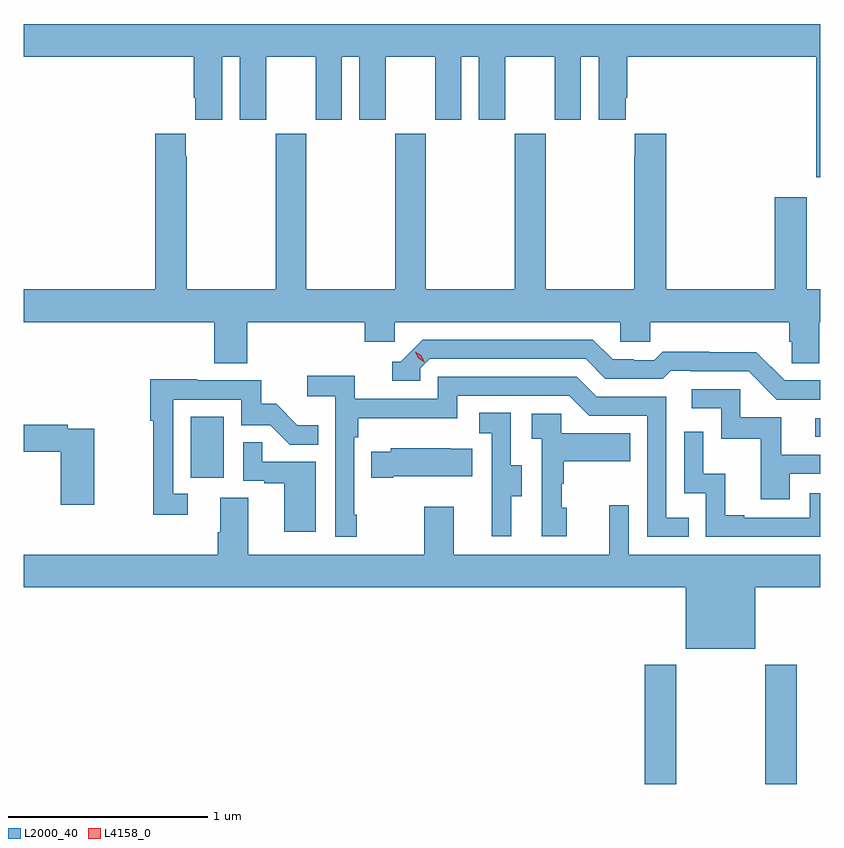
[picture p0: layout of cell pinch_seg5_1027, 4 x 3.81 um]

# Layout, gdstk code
import gdstk
lib = gdstk.Library(unit=1e-6, precision=1e-09)
def R(c, l, rs):  # rectangles x0, y0, x1, y1
    for r in rs: c.add(gdstk.rectangle(r[:2], r[2:], *l))
def P(c, l, *ps):  # polygons
    for p in ps: c.add(gdstk.Polygon(p, *l))
L2000_40 = (2000, 40)
L4158_0 = (4158, 0)

pinch_seg5_1027 = lib.new_cell('pinch_seg5_1027')
R(pinch_seg5_1027, L2000_40, [(834.485,858.437,834.645,859.036), (835.09,858.437,835.25,859.036), (832.208,859.974,832.372,860.281), (835.341,860.181,835.368,860.274)])
P(pinch_seg5_1027, L2000_40, [(835.368,862.252),(831.368,862.252),(831.368,862.088),(832.223,862.088),(832.223,861.883),(832.229,861.883),(832.229,861.771),(832.366,861.771),(832.366,862.088),(832.454,862.088),(832.454,861.771),(832.585,861.771),(832.585,862.088),(832.835,862.088),(832.835,861.771),(832.966,861.771),(832.966,862.088),(833.054,862.088),(833.054,861.771),(833.185,861.771),(833.185,862.088),(833.435,862.088),(833.435,861.771),(833.566,861.771),(833.566,862.088),(833.654,862.088),(833.654,861.771),(833.785,861.771),(833.785,862.088),(834.035,862.088),(834.035,861.771),(834.166,861.771),(834.166,862.088),(834.254,862.088),(834.254,861.771),(834.391,861.771),(834.391,861.883),(834.398,861.883),(834.398,862.088),(835.346,862.088),(835.346,861.482),(835.368,861.482)],
  [(832.188,861.587),(832.183,861.587),(832.183,861.7),(832.028,861.7),(832.028,860.92),(831.368,860.92),(831.368,860.756),(832.325,860.756),(832.325,860.548),(832.49,860.548),(832.49,860.756),(833.081,860.756),(833.081,860.658),(833.232,860.658),(833.232,860.756),(834.363,860.756),(834.363,860.658),(834.513,860.658),(834.513,860.756),(835.211,860.756),(835.211,860.658),(835.225,860.658),(835.225,860.548),(835.362,860.548),(835.362,860.756),(835.368,860.756),(835.368,860.92),(835.299,860.92),(835.299,861.382),(835.139,861.382),(835.139,860.92),(834.593,860.92),(834.593,861.7),(834.437,861.7),(834.437,861.587),(834.433,861.587),(834.433,860.92),(833.988,860.92),(833.988,861.7),(833.833,861.7),(833.833,860.92),(833.388,860.92),(833.388,861.7),(833.233,861.7),(833.233,860.92),(832.788,860.92),(832.788,861.7),(832.633,861.7),(832.633,860.92),(832.188,860.92)],
  [(835.368,860.463),(835.188,860.463),(835.046,860.605),(834.81,860.605),(834.81,860.608),(834.577,860.608),(834.535,860.565),(834.432,860.565),(834.432,860.568),(834.325,860.568),(834.226,860.667),(833.373,860.667),(833.262,860.556),(833.219,860.556),(833.219,860.46),(833.358,860.46),(833.358,860.523),(833.406,860.571),(834.189,860.571),(834.288,860.472),(834.577,860.472),(834.616,860.511),(834.715,860.511),(834.715,860.508),(835.008,860.508),(835.149,860.367),(835.368,860.367)],
  [(833.041,859.789),(833.028,859.789),(833.028,860.177),(833.048,860.177),(833.048,860.273),(833.544,860.273),(833.544,860.385),(834.108,860.385),(834.207,860.286),(834.498,860.286),(834.498,859.677),(834.707,859.677),(834.707,859.773),(834.594,859.773),(834.594,860.382),(834.244,860.382),(834.145,860.481),(833.448,860.481),(833.448,860.37),(833.03,860.37),(833.03,860.486),(832.791,860.486),(832.791,860.384),(832.932,860.384),(832.932,859.677),(833.041,859.677)],
  [(832.192,859.893),(832.119,859.893),(832.119,860.367),(832.461,860.367),(832.461,860.238),(832.605,860.238),(832.703,860.14),(832.847,860.14),(832.847,860.239),(832.743,860.239),(832.636,860.346),(832.56,860.346),(832.56,860.463),(832.241,860.463),(832.241,860.468),(832.003,860.468),(832.003,860.26),(832.018,860.26),(832.018,859.788),(832.192,859.788)],
  [(835.213,859.995),(835.368,859.995),(835.368,860.091),(835.171,860.091),(835.171,860.277),(834.966,860.277),(834.966,860.418),(834.723,860.418),(834.723,860.322),(834.87,860.322),(834.87,860.169),(835.069,860.169),(835.069,859.866),(835.213,859.866)],
  [(833.815,859.882),(833.869,859.882),(833.869,860.037),(833.814,860.037),(833.814,860.3),(833.655,860.3),(833.655,860.197),(833.718,860.197),(833.718,859.893),(833.717,859.893),(833.717,859.68),(833.815,859.68)],
  [(834.094,859.824),(834.069,859.824),(834.069,859.943),(834.079,859.943),(834.079,860.057),(834.413,860.057),(834.413,860.197),(834.066,860.197),(834.066,860.295),(833.919,860.295),(833.919,860.171),(833.97,860.171),(833.97,859.68),(834.094,859.68)],
  [(831.724,860.22),(831.59,860.22),(831.59,860.24),(831.368,860.24),(831.368,860.104),(831.554,860.104),(831.554,859.839),(831.724,859.839)],
  [(835.368,859.896),(835.314,859.896),(835.314,859.773),(834.985,859.773),(834.985,859.786),(834.89,859.786),(834.89,859.994),(834.78,859.994),(834.78,860.206),(834.684,860.206),(834.684,859.896),(834.792,859.896),(834.792,859.677),(835.368,859.677)],
  [(832.834,860.055),(832.565,860.055),(832.565,860.153),(832.47,860.153),(832.47,859.959),(832.577,859.959),(832.577,859.947),(832.676,859.947),(832.676,859.704),(832.834,859.704)],
  [(833.224,859.982),(833.621,859.982),(833.621,860.119),(833.513,860.119),(833.513,860.122),(833.211,860.122),(833.211,860.104),(833.113,860.104),(833.113,859.975),(833.224,859.975)],
  [(835.042,859.424),(835.368,859.424),(835.368,859.588),(834.405,859.588),(834.405,859.837),(834.308,859.837),(834.308,859.588),(833.527,859.588),(833.527,859.828),(833.38,859.828),(833.38,859.588),(832.495,859.588),(832.495,859.874),(832.355,859.874),(832.355,859.7),(832.343,859.7),(832.343,859.588),(831.368,859.588),(831.368,859.424),(834.692,859.424),(834.692,859.115),(835.042,859.115)])
P(pinch_seg5_1027, L4158_0, [(833.38,860.555),(833.349,860.575),(833.333,860.607),(833.333,860.607),(833.333,860.607),(833.364,860.588),(833.38,860.556),(833.38,860.555)])

lib.write_gds('pinch_seg5_1027.gds')
